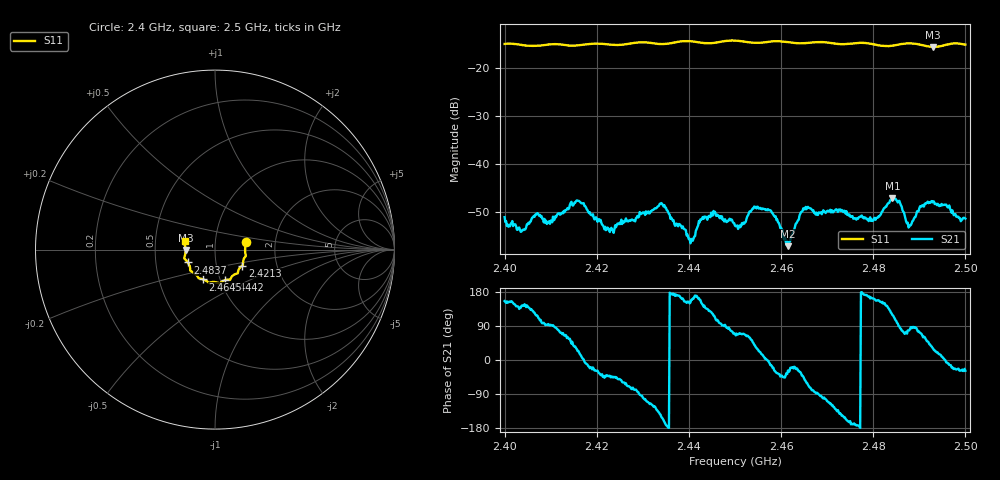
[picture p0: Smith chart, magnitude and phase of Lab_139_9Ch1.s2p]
# Hz S RI R 50
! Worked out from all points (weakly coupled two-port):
!   601 points, 2.4 GHz to 2.5 GHz, reference 50 ohm
!   highest |S21| = -47.15 dB at 2.4842 GHz (marker M1); lowest = -57.0 dB at 2.4615 GHz (marker M2)
!   lowest |S11| = -15.7 dB at 2.493 GHz (marker M3), VSWR 1.39, Z = 35.9 - j0.22 ohm
!   |S11| at or under -10 dB: start of sweep to end of sweep
!   S12 and S22 are empty: the file has one direction only
!   S11 on the Smith chart (normalised r, x): 2.4 GHz: 1.41, +0.12; 2.4213 GHz: 1.33, -0.25; 2.4442 GHz: 1.05, -0.37; 2.4645 GHz: 0.83, -0.29; 2.4837 GHz: 0.73, -0.11; 2.5 GHz: 0.71, +0.07
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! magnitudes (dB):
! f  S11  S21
! 2.4 GHz  -15.1  -51.0
! 2.404 GHz  -15.4  -53.6
! 2.4068 GHz  -15.5  -50.5
! 2.4097 GHz  -15.2  -51.9
! 2.4167 GHz  -15.3  -48.1
! 2.4213 GHz  -15.1  -52.7
! 2.4333 GHz  -15.1  -48.8
! 2.4405 GHz  -14.5  -55.8
! 2.4442 GHz  -15.0  -51.0
! 2.45 GHz  -14.4  -52.8
! 2.4543 GHz  -14.9  -48.9
! 2.4573 GHz  -14.7  -49.6
! 2.4615 GHz  -14.7  -57.0
! 2.4645 GHz  -15.0  -49.9
! 2.4667 GHz  -14.8  -49.5
! 2.4795 GHz  -15.1  -51.8
! 2.4833 GHz  -15.6  -48.1
! 2.4837 GHz  -15.5  -47.5
! 2.4842 GHz  -15.5  -47.2
! 2.4878 GHz  -15.0  -52.9
! 2.493 GHz  -15.7  -47.7
! 2.5 GHz  -15.3  -51.3
